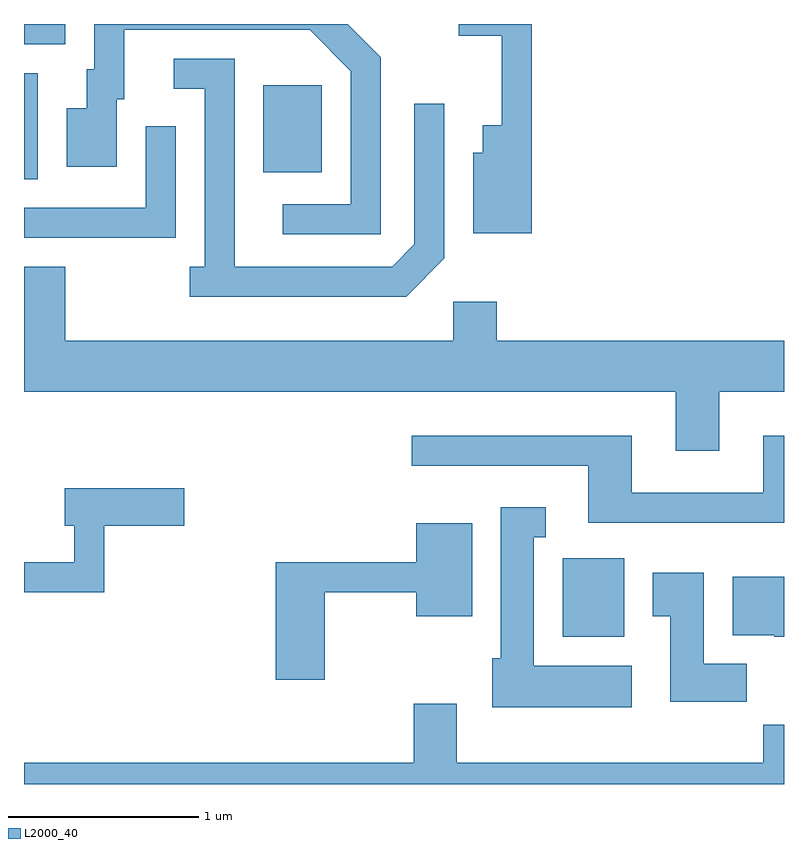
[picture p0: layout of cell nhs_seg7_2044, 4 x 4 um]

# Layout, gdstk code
import gdstk
lib = gdstk.Library(unit=1e-6, precision=1e-09)
def R(c, l, rs):  # rectangles x0, y0, x1, y1
    for r in rs: c.add(gdstk.rectangle(r[:2], r[2:], *l))
def P(c, l, *ps):  # polygons
    for p in ps: c.add(gdstk.Polygon(p, *l))
L2000_40 = (2000, 40)

nhs_seg7_2044 = lib.new_cell('nhs_seg7_2044')
R(nhs_seg7_2044, L2000_40, [(250.446,1713.026,250.769,1713.439), (247.611,1715.436,247.684,1715.994), (248.871,1715.471,249.179,1715.929), (247.611,1716.146,247.829,1716.252)])
P(nhs_seg7_2044, L2000_40, [(250.284,1716.252),(249.898,1716.252),(249.898,1716.191),(250.126,1716.191),(250.126,1715.719),(250.026,1715.719),(250.026,1715.574),(249.976,1715.574),(249.976,1715.151),(250.284,1715.151)],
  [(249.489,1716.077),(249.314,1716.252),(247.981,1716.252),(247.981,1716.014),(247.941,1716.014),(247.941,1715.809),(247.836,1715.809),(247.836,1715.501),(248.099,1715.501),(248.099,1715.856),(248.139,1715.856),(248.139,1716.221),(249.114,1716.221),(249.331,1716.004),(249.331,1715.304),(248.973,1715.304),(248.973,1715.146),(249.489,1715.146)],
  [(249.824,1715.019),(249.824,1715.833),(249.666,1715.833),(249.666,1715.092),(249.549,1714.974),(248.719,1714.974),(248.719,1716.069),(248.398,1716.069),(248.398,1715.911),(248.561,1715.911),(248.561,1714.974),(248.483,1714.974),(248.483,1714.816),(249.622,1714.816)],
  [(248.409,1715.713),(248.251,1715.713),(248.251,1715.284),(247.611,1715.284),(247.611,1715.126),(248.409,1715.126)],
  [(251.269,1714.316),(251.611,1714.316),(251.611,1714.584),(250.099,1714.584),(250.099,1714.789),(249.871,1714.789),(249.871,1714.584),(247.829,1714.584),(247.829,1714.974),(247.611,1714.974),(247.611,1714.316),(251.041,1714.316),(251.041,1714.006),(251.269,1714.006)],
  [(251.611,1714.084),(251.501,1714.084),(251.501,1713.784),(250.809,1713.784),(250.809,1714.084),(249.653,1714.084),(249.653,1713.926),(250.581,1713.926),(250.581,1713.626),(251.611,1713.626)],
  [(248.034,1713.611),(248.454,1713.611),(248.454,1713.809),(247.826,1713.809),(247.826,1713.611),(247.876,1713.611),(247.876,1713.419),(247.611,1713.419),(247.611,1713.261),(248.034,1713.261)],
  [(250.809,1712.874),(250.294,1712.874),(250.294,1713.551),(250.358,1713.551),(250.358,1713.709),(250.121,1713.709),(250.121,1712.914),(250.076,1712.914),(250.076,1712.656),(250.809,1712.656)],
  [(249.194,1713.261),(249.676,1713.261),(249.676,1713.136),(249.969,1713.136),(249.969,1713.624),(249.676,1713.624),(249.676,1713.419),(248.936,1713.419),(248.936,1712.801),(249.194,1712.801)],
  [(251.414,1712.884),(251.189,1712.884),(251.189,1713.364),(250.921,1713.364),(250.921,1713.136),(251.011,1713.136),(251.011,1712.686),(251.414,1712.686)],
  [(251.611,1713.344),(251.341,1713.344),(251.341,1713.036),(251.56,1713.036),(251.56,1713.026),(251.611,1713.026)],
  [(251.611,1712.564),(251.501,1712.564),(251.501,1712.364),(249.889,1712.364),(249.889,1712.674),(249.661,1712.674),(249.661,1712.364),(247.611,1712.364),(247.611,1712.252),(251.611,1712.252)])

lib.write_gds('nhs_seg7_2044.gds')
